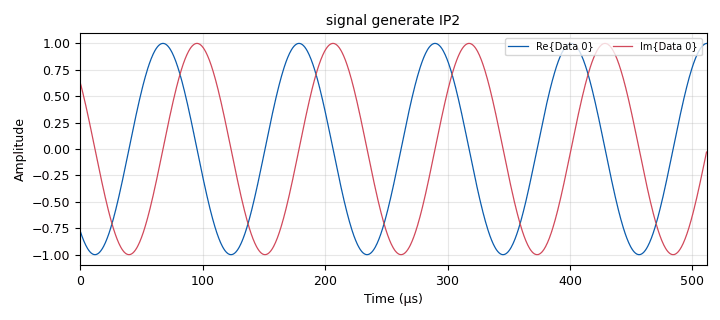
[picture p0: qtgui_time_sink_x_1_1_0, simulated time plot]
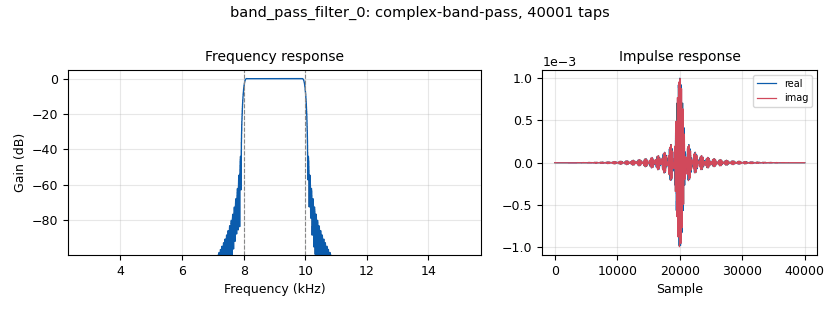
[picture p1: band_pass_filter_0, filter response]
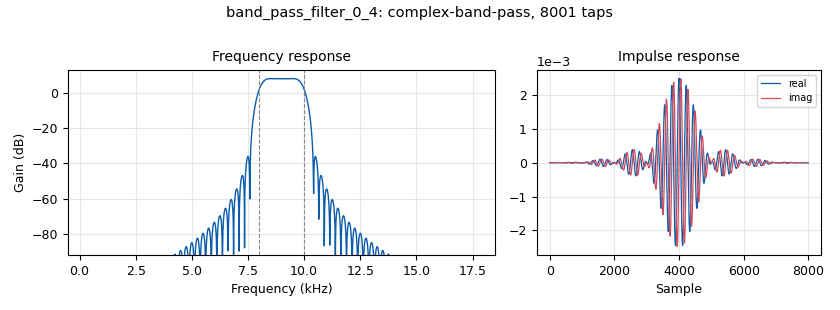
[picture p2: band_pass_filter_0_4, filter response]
options:
  parameters:
    author: iar
    generate_options: qt_gui
    id: frequency_test
    output_language: python
    title: frequency_test
  states: {}

blocks:
- name: B200_63
  id: variable
  parameters:
    value: '"serial=314FA63"'
  states: {state: disabled}
- name: IP2
  id: variable
  parameters:
    value: '"addr=192.168.10.2"'
  states: {}
- name: IP3
  id: variable
  parameters:
    value: '"addr=192.168.10.3"'
  states: {}
- name: IP4
  id: variable
  parameters:
    value: '"addr=192.168.10.4"'
  states: {}
- name: bandwidth
  id: variable
  parameters:
    value: 22e6
  states: {}
- name: frequency
  id: variable_qtgui_range
  parameters:
    start: '0'
    step: '10'
    stop: '3000'
    value: '0'
  states: {}
- name: phase
  id: variable_qtgui_range
  parameters:
    label: phase
    start: '0'
    step: '0.1'
    stop: 2*math.pi
    value: '0'
  states: {}
- name: samp_rate
  id: variable_qtgui_range
  parameters:
    label: sample rate
    start: '0'
    step: 1e3
    stop: 3e6
    value: 2e6
  states: {}
- name: Attacker
  id: qtgui_tab_widget
  parameters:
    label0: Time
    label1: Frequency
    num_tabs: '2'
  states: {}
- name: RX
  id: qtgui_tab_widget
  parameters:
    label0: Time
    label1: Frequency
    num_tabs: '2'
  states: {}
- name: TX
  id: qtgui_tab_widget
  parameters:
    label0: Time
    num_tabs: '1'
  states: {}
- name: analog_sig_source_x_0_1_0
  id: analog_sig_source_x
  parameters:
    amp: '1'
    freq: '9000'
    offset: '0'
    phase: '0'
    samp_rate: samp_rate
    type: complex
    waveform: analog.GR_COS_WAVE
  states: {}
- name: band_pass_filter_0
  id: band_pass_filter
  parameters:
    decim: '1'
    gain: '1'
    high_cutoff_freq: '10000'
    low_cutoff_freq: '8000'
    samp_rate: samp_rate
    type: fir_filter_ccc
    width: '100'
    win: window.WIN_HANN
  states: {}
- name: band_pass_filter_0_4
  id: band_pass_filter
  parameters:
    decim: '1'
    gain: '2.5'
    high_cutoff_freq: '10000'
    low_cutoff_freq: '8000'
    samp_rate: samp_rate
    type: fir_filter_ccc
    width: '500'
    win: window.WIN_HANN
  states: {}
- name: blocks_freqshift_cc_0
  id: blocks_freqshift_cc
  parameters:
    freq: frequency
    sample_rate: samp_rate
  states: {}
- name: blocks_phase_shift_0
  id: blocks_phase_shift
  parameters:
    is_radians: 'True'
    shift: phase
  states: {state: disabled}
- name: blocks_sub_xx_0
  id: blocks_sub_xx
  parameters:
    type: complex
  states: {state: disabled}
- name: import_0
  id: import
  parameters:
    imports: import math
  states: {}
- name: qtgui_freq_sink_x_0
  id: qtgui_freq_sink_x
  parameters:
    bw: samp_rate
    ctrlpanel: 'True'
    fc: '0'
    fftsize: '1024'
    gui_hint: RX@1
    name: '"signal detect IP3"'
    showports: 'True'
    type: complex
  states: {}
- name: qtgui_freq_sink_x_0_0
  id: qtgui_freq_sink_x
  parameters:
    bw: samp_rate
    ctrlpanel: 'True'
    fc: '0'
    fftsize: '4096'
    gui_hint: RX@1
    name: '"signal detect IP3 after filter"'
    showports: 'True'
    type: complex
    wintype: window.WIN_HANN
  states: {}
- name: qtgui_freq_sink_x_0_1
  id: qtgui_freq_sink_x
  parameters:
    bw: samp_rate
    ctrlpanel: 'True'
    fc: '0'
    fftsize: '1024'
    gui_hint: Attacker@1
    name: '"signal detect IP5"'
    showports: 'True'
    type: complex
  states: {}
- name: qtgui_freq_sink_x_0_1_0
  id: qtgui_freq_sink_x
  parameters:
    bw: samp_rate
    ctrlpanel: 'True'
    fc: '0'
    fftsize: '1024'
    gui_hint: Attacker@1
    name: '"signal detect IP4 after filter"'
    showports: 'True'
    type: complex
  states: {}
- name: qtgui_freq_sink_x_0_1_1
  id: qtgui_freq_sink_x
  parameters:
    bw: samp_rate
    ctrlpanel: 'True'
    fc: '0'
    fftsize: '1024'
    gui_hint: Attacker@1
    name: '"5 substract 2"'
    showports: 'True'
    type: complex
  states: {state: disabled}
- name: qtgui_sink_x_0
  id: qtgui_sink_x
  parameters:
    bw: samp_rate
    fc: '0'
    fftsize: '1024'
    gui_hint: RX@1
    showrf: 'True'
    type: complex
  states: {}
- name: qtgui_time_sink_x_0
  id: qtgui_time_sink_x
  parameters:
    autoscale: 'True'
    ctrlpanel: 'True'
    gui_hint: RX@0
    label1: ''
    label2: ''
    name: '"signal detect IP3"'
    size: '1024'
    srate: samp_rate
    type: complex
  states: {state: disabled}
- name: qtgui_time_sink_x_0_0
  id: qtgui_time_sink_x
  parameters:
    autoscale: 'True'
    ctrlpanel: 'True'
    gui_hint: RX@0
    label1: ''
    label2: ''
    name: '"signal detect IP3 after filter"'
    size: '1024'
    srate: samp_rate
    type: complex
  states: {}
- name: qtgui_time_sink_x_1_1
  id: qtgui_time_sink_x
  parameters:
    autoscale: 'True'
    ctrlpanel: 'True'
    gui_hint: Attacker@0
    label1: ''
    label2: ''
    name: '"signal generate IP5"'
    size: '1024'
    srate: samp_rate
    type: complex
  states: {}
- name: qtgui_time_sink_x_1_1_0
  id: qtgui_time_sink_x
  parameters:
    autoscale: 'True'
    ctrlpanel: 'True'
    gui_hint: TX@0
    label1: ''
    label2: ''
    name: '"signal generate IP2"'
    size: '1024'
    srate: samp_rate
    type: complex
  states: {}
- name: qtgui_time_sink_x_1_1_1
  id: qtgui_time_sink_x
  parameters:
    autoscale: 'True'
    ctrlpanel: 'True'
    gui_hint: Attacker@0
    label1: real
    label2: ''
    label3: real-shift
    label4: ''
    name: '"signal generate IP4 after filter"'
    nconnections: '2'
    size: '1024'
    srate: samp_rate
    type: complex
  states: {}
- name: qtgui_time_sink_x_1_1_2
  id: qtgui_time_sink_x
  parameters:
    autoscale: 'True'
    ctrlpanel: 'True'
    gui_hint: Attacker@0
    label1: ''
    label2: ''
    name: '"5 substracts 2"'
    size: '1024'
    srate: samp_rate
    type: complex
  states: {state: disabled}
- name: uhd_usrp_sink_0_1
  id: uhd_usrp_sink
  parameters:
    ant0: TX/RX
    bw0: bandwidth
    center_freq0: 1.5e9
    clock_rate: '0.0'
    dev_addr: IP4
    dev_args: '""'
    gain0: '0'
    len_tag_name: ''
    samp_rate: samp_rate
    sync: pc_clock
    type: fc32
  states: {state: disabled}
- name: uhd_usrp_sink_0_1_0
  id: uhd_usrp_sink
  parameters:
    ant0: TX/RX
    bw0: bandwidth
    center_freq0: 1.5e9
    clock_rate: '0.0'
    dev_addr: IP2
    dev_args: '""'
    gain0: '23'
    len_tag_name: ''
    samp_rate: samp_rate
    sync: pc_clock
    type: fc32
  states: {}
- name: uhd_usrp_sink_0_1_1
  id: uhd_usrp_sink
  parameters:
    ant0: TX/RX
    bw0: bandwidth
    center_freq0: 1.501e9
    clock_rate: '0.0'
    dev_addr: IP4
    dev_args: '""'
    gain0: '0'
    len_tag_name: ''
    samp_rate: samp_rate
    sync: pc_clock
    type: fc32
  states: {}
- name: uhd_usrp_source_0
  id: uhd_usrp_source
  parameters:
    ant0: '"TX/RX"'
    bw0: bandwidth
    center_freq0: 1.5e9
    dev_addr: '"addr=192.168.10.5"'
    gain0: '30'
    samp_rate: samp_rate
    sync: pc_clock
    type: fc32
  states: {}
- name: uhd_usrp_source_1
  id: uhd_usrp_source
  parameters:
    ant0: '"TX/RX"'
    bw0: bandwidth
    center_freq0: 1.5e9
    dev_addr: IP3
    dev_args: '""'
    gain0: '26'
    samp_rate: samp_rate
    sync: pc_clock
    type: fc32
  states: {}
- name: virtual_sink_0
  id: virtual_sink
  parameters:
    stream_id: attacker out
  states: {}
- name: virtual_source_0
  id: virtual_source
  parameters:
    stream_id: attacker out
  states: {}

connections:
- [analog_sig_source_x_0_1_0, '0', blocks_sub_xx_0, '1']
- [analog_sig_source_x_0_1_0, '0', qtgui_time_sink_x_1_1_0, '0']
- [analog_sig_source_x_0_1_0, '0', uhd_usrp_sink_0_1_0, '0']
- [band_pass_filter_0, '0', qtgui_freq_sink_x_0_0, '0']
- [band_pass_filter_0, '0', qtgui_time_sink_x_0_0, '0']
- [band_pass_filter_0_4, '0', blocks_freqshift_cc_0, '0']
- [band_pass_filter_0_4, '0', qtgui_freq_sink_x_0_1_0, '0']
- [band_pass_filter_0_4, '0', qtgui_time_sink_x_1_1_1, '0']
- [blocks_freqshift_cc_0, '0', blocks_phase_shift_0, '0']
- [blocks_freqshift_cc_0, '0', qtgui_time_sink_x_1_1_1, '1']
- [blocks_freqshift_cc_0, '0', virtual_sink_0, '0']
- [blocks_phase_shift_0, '0', uhd_usrp_sink_0_1, '0']
- [blocks_sub_xx_0, '0', qtgui_freq_sink_x_0_1_1, '0']
- [blocks_sub_xx_0, '0', qtgui_time_sink_x_1_1_2, '0']
- [uhd_usrp_source_0, '0', band_pass_filter_0_4, '0']
- [uhd_usrp_source_0, '0', blocks_sub_xx_0, '0']
- [uhd_usrp_source_0, '0', qtgui_freq_sink_x_0_1, '0']
- [uhd_usrp_source_0, '0', qtgui_time_sink_x_1_1, '0']
- [uhd_usrp_source_1, '0', band_pass_filter_0, '0']
- [uhd_usrp_source_1, '0', qtgui_freq_sink_x_0, '0']
- [uhd_usrp_source_1, '0', qtgui_sink_x_0, '0']
- [uhd_usrp_source_1, '0', qtgui_time_sink_x_0, '0']
- [virtual_source_0, '0', uhd_usrp_sink_0_1_1, '0']

metadata:
  file_format: 1
